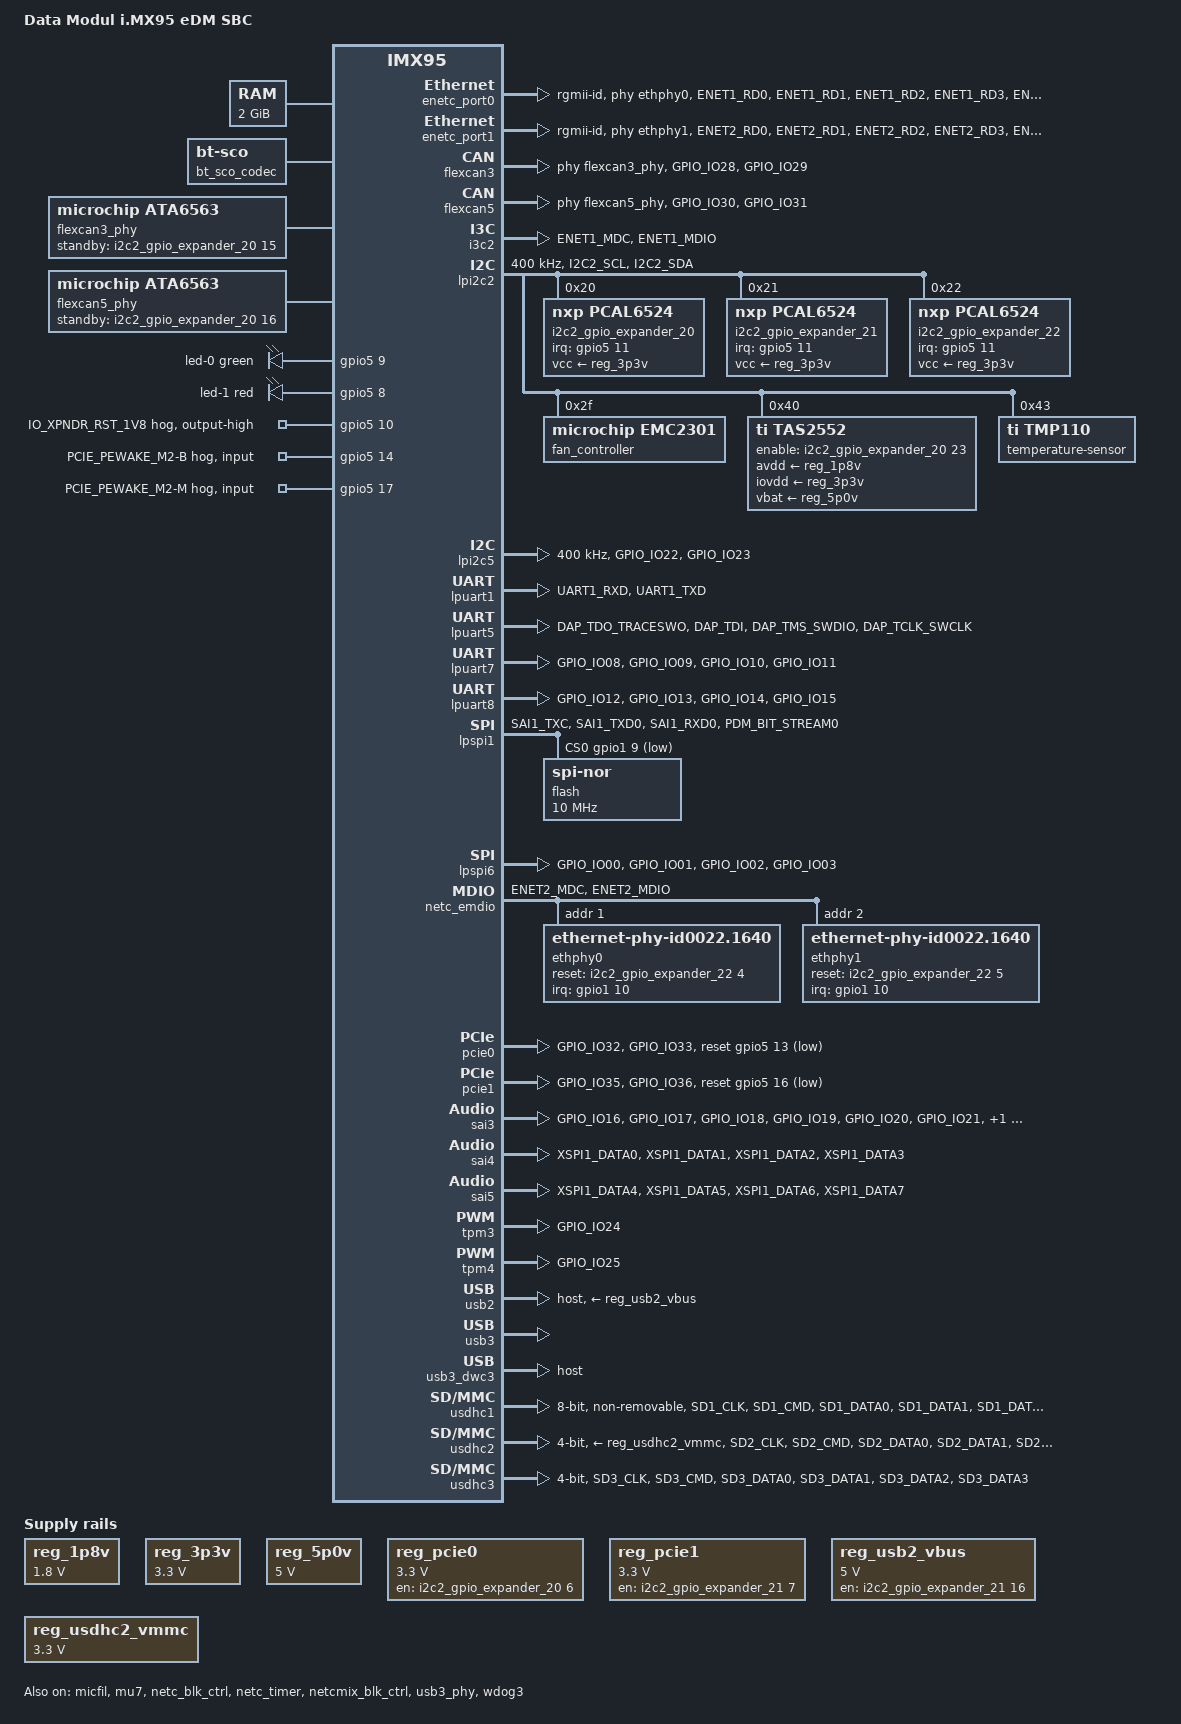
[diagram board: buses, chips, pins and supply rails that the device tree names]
// SPDX-License-Identifier: (GPL-2.0+ OR MIT)
/*
 * Copyright (C) 2025-2026 Marek Vasut <marex@nabladev.com>
 */

/dts-v1/;

#include <dt-bindings/i3c/i3c.h>
#include <dt-bindings/leds/common.h>
#include <dt-bindings/pwm/pwm.h>
#include <dt-bindings/usb/pd.h>
#include "imx95.dtsi"

/ {
	model = "Data Modul i.MX95 eDM SBC";
	compatible = "dmo,imx95-data-modul-edm-sbc", "fsl,imx95";

	aliases {
		ethernet0 = &enetc_port0;
		ethernet1 = &enetc_port1;
		gpio0 = &gpio1;
		gpio1 = &gpio2;
		gpio2 = &gpio3;
		gpio3 = &gpio4;
		gpio4 = &gpio5;
		i2c0 = &lpi2c1;
		i2c1 = &lpi2c2;
		i2c2 = &lpi2c5;
		mmc0 = &usdhc1;
		mmc1 = &usdhc2;
		mmc2 = &usdhc3;
		serial0 = &lpuart1;
		serial1 = &lpuart2;
		serial2 = &lpuart5;
		serial3 = &lpuart7;
		serial4 = &lpuart8;
	};

	chosen {
		stdout-path = &lpuart1;
	};

	memory@80000000 {
		device_type = "memory";
		reg = <0x0 0x80000000 0 0x80000000>;
	};

	backlight_dsi: backlight-dsi {
		compatible = "pwm-backlight";
		brightness-levels = <0 1 10 20 30 40 50 60 70 75 80 90 100>;
		default-brightness-level = <7>;
		enable-gpios = <&i2c2_gpio_expander_21 12 GPIO_ACTIVE_HIGH>;
		pwms = <&tpm4 3 5000000 0>;
		/* Disabled by default, unless display board plugged in. */
		status = "disabled";
	};

	backlight_lvds: backlight-lvds {
		compatible = "pwm-backlight";
		pinctrl-names = "default";
		pinctrl-0 = <&pinctrl_panel_backlight_lvds>;
		brightness-levels = <0 1 10 20 30 40 50 60 70 75 80 90 100>;
		default-brightness-level = <7>;
		enable-gpios = <&gpio2 27 GPIO_ACTIVE_HIGH>;
		pwms = <&tpm3 3 5000000 0>;
		/* Disabled by default, unless display board plugged in. */
		status = "disabled";
	};

	bt_sco_codec: bt-sco-codec {
		compatible = "linux,bt-sco";
		#sound-dai-cells = <1>;
	};

	flexcan3_phy: can-phy0 {
		compatible = "microchip,ata6563", "ti,tcan1042";
		#phy-cells = <0>;
		max-bitrate = <5000000>;
		standby-gpios = <&i2c2_gpio_expander_20 15 GPIO_ACTIVE_HIGH>;
	};

	flexcan5_phy: can-phy1 {
		compatible = "microchip,ata6563", "ti,tcan1042";
		#phy-cells = <0>;
		max-bitrate = <5000000>;
		standby-gpios = <&i2c2_gpio_expander_20 16 GPIO_ACTIVE_HIGH>;
	};

	led {
		compatible = "gpio-leds";
		pinctrl-0 = <&pinctrl_led>;
		pinctrl-names = "default";

		led-0 {
			color = <LED_COLOR_ID_GREEN>;
			default-state = "off";
			function = LED_FUNCTION_INDICATOR;
			function-enumerator = <0>;
			gpios = <&gpio5 9 GPIO_ACTIVE_HIGH>;
		};

		led-1 {
			color = <LED_COLOR_ID_RED>;
			default-state = "off";
			function = LED_FUNCTION_INDICATOR;
			function-enumerator = <0>;
			gpios = <&gpio5 8 GPIO_ACTIVE_HIGH>;
		};
	};

	reg_1p8v: regulator-1p8v {
		compatible = "regulator-fixed";
		regulator-max-microvolt = <1800000>;
		regulator-min-microvolt = <1800000>;
		regulator-name = "VDD_1V8";
	};

	/* PF09 SW1, but the PMIC is controlled by CM33 */
	reg_3p3v: regulator-3p3v {
		compatible = "regulator-fixed";
		regulator-max-microvolt = <3300000>;
		regulator-min-microvolt = <3300000>;
		regulator-name = "VDD_3V3";
	};

	reg_5p0v: regulator-5p0v {
		compatible = "regulator-fixed";
		regulator-max-microvolt = <5000000>;
		regulator-min-microvolt = <5000000>;
		regulator-name = "VDD_5V0";
	};

	reg_panel_vcc: regulator-panel-vcc {
		compatible = "regulator-fixed";
		regulator-min-microvolt = <3300000>;
		regulator-max-microvolt = <3300000>;
		regulator-name = "PANEL_VCC";
		gpios = <&i2c2_gpio_expander_20 17 0>;
		/* Disabled by default, unless display board plugged in. */
		status = "disabled";
	};

	reg_pcie0: regulator-pcie0 {
		compatible = "regulator-fixed";
		regulator-max-microvolt = <3300000>;
		regulator-min-microvolt = <3300000>;
		regulator-name = "PCIE_M2-B_EN";
		gpios = <&i2c2_gpio_expander_20 6 GPIO_ACTIVE_HIGH>;
		enable-active-high;
	};

	reg_pcie1: regulator-pcie1 {
		compatible = "regulator-fixed";
		regulator-name = "PCIE_M2-M_EN";
		regulator-min-microvolt = <3300000>;
		regulator-max-microvolt = <3300000>;
		gpios = <&i2c2_gpio_expander_21 7 GPIO_ACTIVE_HIGH>;
		enable-active-high;
	};

	reg_usb2_vbus: regulator-usb2-vbus {
		compatible = "regulator-fixed";
		regulator-name = "USB2_VBUS";
		regulator-min-microvolt = <5000000>;
		regulator-max-microvolt = <5000000>;
		gpios = <&i2c2_gpio_expander_21 16 GPIO_ACTIVE_HIGH>;
		enable-active-high;
	};

	reg_usdhc2_vmmc: regulator-usdhc2 {
		compatible = "regulator-fixed";
		regulator-min-microvolt = <3300000>;
		regulator-max-microvolt = <3300000>;
		regulator-name = "VDD_SD2_3V3";
	};

	sound-bt-sco {
		compatible = "simple-audio-card";
		simple-audio-card,bitclock-inversion;
		simple-audio-card,bitclock-master = <&btcpu>;
		simple-audio-card,format = "dsp_a";
		simple-audio-card,frame-master = <&btcpu>;
		simple-audio-card,name = "bt-sco-audio";

		simple-audio-card,codec {
			sound-dai = <&bt_sco_codec 1>;
		};

		btcpu: simple-audio-card,cpu {
			dai-tdm-slot-num = <2>;
			dai-tdm-slot-width = <16>;
			sound-dai = <&sai5>;
		};
	};

	sound-micfil {
		compatible = "fsl,imx-audio-card";
		model = "micfil-audio";

		pri-dai-link {
			link-name = "micfil hifi";
			format = "i2s";
			cpu {
				sound-dai = <&micfil>;
			};
		};
	};

	sound-tas2552 {
		compatible = "simple-audio-card";
		simple-audio-card,bitclock-master = <&cpudai>;
		simple-audio-card,format = "i2s";
		simple-audio-card,frame-master = <&cpudai>;
		simple-audio-card,mclk-fs = <256>;
		simple-audio-card,name = "tas2552-audio";
		simple-audio-card,routing = "Speaker", "OUT";
		simple-audio-card,widgets = "Speaker", "Speaker";

		simple-audio-card,codec {
			sound-dai = <&tas2552>;
		};

		cpudai: simple-audio-card,cpu {
			sound-dai = <&sai3>;
		};
	};
};

&enetc_port0 {
	pinctrl-names = "default";
	pinctrl-0 = <&pinctrl_enetc0>;
	phy-handle = <&ethphy0>;
	phy-mode = "rgmii-id";
	status = "okay";
};

&enetc_port1 {
	pinctrl-names = "default";
	pinctrl-0 = <&pinctrl_enetc1>;
	phy-handle = <&ethphy1>;
	phy-mode = "rgmii-id";
	status = "okay";
};

&flexcan3 {
	pinctrl-names = "default";
	pinctrl-0 = <&pinctrl_flexcan3>;
	phys = <&flexcan3_phy>;
	status = "okay";
};

&flexcan5 {
	pinctrl-names = "default";
	pinctrl-0 = <&pinctrl_flexcan5>;
	phys = <&flexcan5_phy>;
	status = "okay";
};

&gpio1 {
	gpio-line-names =
		"", "", "", "",
		"", "BOOT_MODE0", "", "BOOT_MODE1",
		"", "", "SYS_WAKEUP", "BOOT_MODE2",
		"", "BOOT_MODE3", "", "";
	status = "okay";
};

&gpio5 {
	pcal6524-reset-hog {
		gpio-hog;
		gpios = <10 0>;
		output-high;
		line-name = "IO_XPNDR_RST_1V8";
	};

	pewake0-hog {
		gpio-hog;
		gpios = <14 0>;
		input;
		line-name = "PCIE_PEWAKE_M2-B";
	};

	pewake1-hog {
		gpio-hog;
		gpios = <17 0>;
		input;
		line-name = "PCIE_PEWAKE_M2-M";
	};
};

&i3c2 {	/* Feature connector I2C/I3C */
	i2c-scl-hz = <400000>;
	pinctrl-0 = <&pinctrl_i3c2>;
	pinctrl-names = "default";
	status = "okay";
};

&lpi2c2 {
	clock-frequency = <400000>;
	pinctrl-names = "default";
	pinctrl-0 = <&pinctrl_lpi2c2>;
	status = "okay";

	i2c2_gpio_expander_20: gpio@20 {	/* U12 */
		compatible = "nxp,pcal6524";
		reg = <0x20>;
		#gpio-cells = <2>;
		gpio-controller;
		#interrupt-cells = <2>;
		interrupt-controller;
		interrupts-extended = <&gpio5 11 IRQ_TYPE_LEVEL_HIGH>;
		vcc-supply = <&reg_3p3v>;
		/*
		 * reset-gpios cannot be used because the reset
		 * line is shared by multiple PCAL6524 consumers.
		 */
		gpio-line-names =
			/* Port 0 */
			"UART8_RS232-485_MODE0", "UART8_RS232-485_MODE1",
			"UART8_RS232-485_Term_TX", "UART8_RS232-485_Term_RX",
			"UART8_RS232-485_EN", "VDD_3V3_M2-E_EN",
			"VDD_3V3_M2-B_EN", "M2_I2C_ALERT",
			/* Port 1 */
			"M2-B_FULL_CARD_PWROFF", "M2-B_W_DISABLE1",
			"M2-B_W_DISABLE2", "M2-B_RESET",
			"M2-E_W_DISABLE1", "M2-E_W_DISABLE2",
			"M2-E_SDIO_RESET", "CAN3_STBY",
			/* Port 2 */
			"CAN5_STBY", "V_LCD_EN",
			"V_LCD_SEL_3V3", "V_LCD_SEL_5V0",
			"V_LCD_SEL_12V0", "V_12V0_CC",
			"V_12V0_PG", "AUDIO_EN";
	};

	i2c2_gpio_expander_21: gpio@21 {	/* U14 */
		compatible = "nxp,pcal6524";
		reg = <0x21>;
		#gpio-cells = <2>;
		gpio-controller;
		#interrupt-cells = <2>;
		interrupt-controller;
		interrupts-extended = <&gpio5 11 IRQ_TYPE_LEVEL_HIGH>;
		vcc-supply = <&reg_3p3v>;
		/*
		 * reset-gpios cannot be used because the reset
		 * line is shared by multiple PCAL6524 consumers.
		 */
		gpio-line-names =
			/* Port 0 */
			"V_BKL_PWM_SEL_5V0", "V_BKL_EN_SEL_5V0",
			"UART7_RS232-485_MODE0", "UART7_RS232-485_MODE1",
			"UART7_RS232-485_Term_TX", "UART7_RS232-485_Term_RX",
			"UART7_RS232-485_EN", "VDD_3V3_M2-M_EN",
			/* Port 1 */
			"TOUCH_INT", "TOUCH_RESET",
			"CAMERA_PWREN", "CAMERA_LED",
			"MIPI_DSI-CSI_BL_EN", "MIPI_DSI-CSI_RESET",
			"MIPI_DSI-CSI_INT", "LVDS_PANEL_GPIO",
			/* Port 2 */
			"USB2_PWR_EN", "USB2_PWR_OC#",
			"VDD_1V2_USB_PG", "PF09_PG",
			"USB_HUB_RESET", "PF09_FS0B",
			"PF53_VDD_ARM_PG", "PF53_VDD_SOC_PG";

		usb-hub-hog {
			gpio-hog;
			gpios = <20 0>;
			output-high;
			line-name = "USB_HUB_RESET";
		};
	};

	i2c2_gpio_expander_22: gpio@22 {	/* U13 */
		compatible = "nxp,pcal6524";
		reg = <0x22>;
		#gpio-cells = <2>;
		gpio-controller;
		#interrupt-cells = <2>;
		interrupt-controller;
		interrupts-extended = <&gpio5 11 IRQ_TYPE_LEVEL_HIGH>;
		vcc-supply = <&reg_3p3v>;
		/*
		 * reset-gpios cannot be used because the reset
		 * line is shared by multiple PCAL6524 consumers.
		 */
		gpio-line-names =
			/* Port 0 */
			"eMMC_RESET", "WDOG_IRQ#",
			"FAN_ALERT", "VDD_1V2_ETH_PG",
			"ENET1_RESET", "ENET2_RESET",
			"TPM_IRQ", "TPM_RESET",
			/* Port 1 */
			"FEATURE_CONN_GPIO1", "FEATURE_CONN_GPIO2",
			"FEATURE_CONN_GPIO3", "FEATURE_CONN_GPIO4",
			"FEATURE_CONN_GPIO5", "FEATURE_CONN_GPIO6",
			"", "",
			/* Port 2 */
			"", "", "", "", "", "",
			"UART5_SEL", "EEPROM_WRITE_ENABLE";
	};

	fan_controller: fan-controller@2f {
		compatible = "microchip,emc2301", "microchip,emc2305";
		reg = <0x2f>;
		#address-cells = <1>;
		#size-cells = <0>;
		#pwm-cells = <3>;

		fan@0 {
			reg = <0x0>;
			pwms = <&fan_controller 26000 0 1>;
			#cooling-cells = <2>;
		};
	};

	tas2552: audio-codec@40 {
		compatible = "ti,tas2552";
		reg = <0x40>;
		#sound-dai-cells = <0>;
		avdd-supply = <&reg_1p8v>;
		iovdd-supply = <&reg_3p3v>;
		vbat-supply = <&reg_5p0v>;
		enable-gpio = <&i2c2_gpio_expander_20 23 GPIO_ACTIVE_HIGH>;
	};

	temperature-sensor@43 {
		compatible = "ti,tmp110", "ti,tmp102";
		reg = <0x43>;
	};
};

&lpi2c5 {
	clock-frequency = <400000>;
	pinctrl-names = "default";
	pinctrl-0 = <&pinctrl_lpi2c5>;
	status = "okay";
};

&lpuart1 {	/* A55 Debug */
	pinctrl-names = "default";
	pinctrl-0 = <&pinctrl_uart1>;
	status = "okay";
};

&lpuart2 {	/* M33 Debug */
	pinctrl-names = "default";
	pinctrl-0 = <&pinctrl_uart2>;
	status = "reserved";
};

&lpuart5 {
	pinctrl-names = "default";
	pinctrl-0 = <&pinctrl_uart5>;
	uart-has-rtscts;
	status = "okay";
};

&lpuart7 {
	pinctrl-names = "default";
	pinctrl-0 = <&pinctrl_uart7>;
	uart-has-rtscts;
	status = "okay";
};

&lpuart8 {	/* M7 Debug */
	pinctrl-names = "default";
	pinctrl-0 = <&pinctrl_uart8>;
	uart-has-rtscts;
	status = "okay";
};

&lpspi1 {
	pinctrl-names = "default";
	pinctrl-0 = <&pinctrl_lpspi1>;
	cs-gpios = <&gpio1 9 GPIO_ACTIVE_LOW>;
	status = "okay";

	flash@0 {	/* W25Q128FVSI */
		compatible = "jedec,spi-nor";
		reg = <0>;
		spi-max-frequency = <10000000>;
	};
};

&lpspi6 {
	pinctrl-names = "default";
	pinctrl-0 = <&pinctrl_lpspi6>;
	cs-gpios = <&gpio2 0 GPIO_ACTIVE_LOW>;
	status = "okay";
};

&micfil {
	#sound-dai-cells = <0>;
	pinctrl-names = "default";
	pinctrl-0 = <&pinctrl_pdm>;
	assigned-clocks = <&scmi_clk IMX95_CLK_AUDIOPLL1_VCO>,
			  <&scmi_clk IMX95_CLK_AUDIOPLL2_VCO>,
			  <&scmi_clk IMX95_CLK_AUDIOPLL1>,
			  <&scmi_clk IMX95_CLK_AUDIOPLL2>,
			  <&scmi_clk IMX95_CLK_PDM>;
	assigned-clock-parents = <0>, <0>, <0>, <0>,
				 <&scmi_clk IMX95_CLK_AUDIOPLL1>;
	assigned-clock-rates = <3932160000>,
			       <3612672000>, <393216000>,
			       <361267200>, <49152000>;
	status = "okay";
};

&mu7 {
	status = "okay";
};

&netc_blk_ctrl {
	status = "okay";
};

&netc_emdio {
	pinctrl-names = "default";
	pinctrl-0 = <&pinctrl_emdio>;
	status = "okay";

	ethphy0: ethernet-phy@1 {	/* KSZ9131RNXI U20 */
		compatible = "ethernet-phy-id0022.1640";
		reg = <1>;
		interrupts-extended = <&gpio1 10 IRQ_TYPE_LEVEL_LOW>;
		reset-assert-us = <1000>;
		/* RESET_N signal rise time ~100ms */
		reset-deassert-us = <120000>;
		reset-gpios = <&i2c2_gpio_expander_22 4 GPIO_ACTIVE_HIGH>;
	};

	ethphy1: ethernet-phy@2 {	/* KSZ9131RNXI U22 */
		compatible = "ethernet-phy-id0022.1640";
		reg = <2>;
		interrupts-extended = <&gpio1 10 IRQ_TYPE_LEVEL_LOW>;
		reset-assert-us = <1000>;
		/* RESET_N signal rise time ~100ms */
		reset-deassert-us = <120000>;
		reset-gpios = <&i2c2_gpio_expander_22 5 GPIO_ACTIVE_HIGH>;
	};
};

&netc_timer {
	status = "okay";
};

&netcmix_blk_ctrl {
	status = "okay";
};

&pcie0 {	/* M.2 Key-B */
	pinctrl-0 = <&pinctrl_pcie0>;
	pinctrl-names = "default";
	reset-gpios = <&gpio5 13 GPIO_ACTIVE_LOW>;
	vpcie-supply = <&reg_pcie0>;
	status = "okay";
};

&pcie1 {	/* M.2 Key-M */
	pinctrl-0 = <&pinctrl_pcie1>;
	pinctrl-names = "default";
	reset-gpios = <&gpio5 16 GPIO_ACTIVE_LOW>;
	vpcie-supply = <&reg_pcie1>;
	status = "okay";
};

&sai3 {
	#sound-dai-cells = <0>;
	pinctrl-names = "default";
	pinctrl-0 = <&pinctrl_sai3>;
	assigned-clocks = <&scmi_clk IMX95_CLK_AUDIOPLL1_VCO>,
			  <&scmi_clk IMX95_CLK_AUDIOPLL2_VCO>,
			  <&scmi_clk IMX95_CLK_AUDIOPLL1>,
			  <&scmi_clk IMX95_CLK_AUDIOPLL2>,
			  <&scmi_clk IMX95_CLK_SAI3>;
	assigned-clock-parents = <0>, <0>, <0>, <0>,
				 <&scmi_clk IMX95_CLK_AUDIOPLL1>;
	assigned-clock-rates = <3932160000>,
			       <3612672000>, <393216000>,
			       <361267200>, <12288000>;
	fsl,sai-mclk-direction-output;
	status = "okay";
};

&sai4 {
	assigned-clocks = <&scmi_clk IMX95_CLK_AUDIOPLL1_VCO>,
			  <&scmi_clk IMX95_CLK_AUDIOPLL2_VCO>,
			  <&scmi_clk IMX95_CLK_AUDIOPLL1>,
			  <&scmi_clk IMX95_CLK_AUDIOPLL2>,
			  <&scmi_clk IMX95_CLK_SAI4>;
	assigned-clock-parents = <0>, <0>, <0>, <0>, <&scmi_clk IMX95_CLK_AUDIOPLL1>;
	assigned-clock-rates = <3932160000>, <3612672000>, <393216000>, <361267200>, <12288000>;
	#sound-dai-cells = <0>;
	pinctrl-0 = <&pinctrl_sai4>;
	pinctrl-names = "default";
	fsl,sai-mclk-direction-output;
	status = "okay";
};

&sai5 {
	assigned-clocks = <&scmi_clk IMX95_CLK_AUDIOPLL1_VCO>,
			  <&scmi_clk IMX95_CLK_AUDIOPLL2_VCO>,
			  <&scmi_clk IMX95_CLK_AUDIOPLL1>,
			  <&scmi_clk IMX95_CLK_AUDIOPLL2>,
			  <&scmi_clk IMX95_CLK_SAI5>;
	assigned-clock-parents = <0>, <0>, <0>, <0>, <&scmi_clk IMX95_CLK_AUDIOPLL1>;
	assigned-clock-rates = <3932160000>, <3612672000>, <393216000>, <361267200>, <12288000>;
	#sound-dai-cells = <0>;
	pinctrl-0 = <&pinctrl_sai5>;
	pinctrl-names = "default";
	fsl,sai-mclk-direction-output;
	status = "okay";
};

&thermal_zones {
	pf09-thermal {
		polling-delay = <2000>;
		polling-delay-passive = <250>;
		thermal-sensors = <&scmi_sensor 2>;

		trips {
			trip0 {
				hysteresis = <2000>;
				temperature = <140000>;
				type = "passive";
			};

			trip1 {
				hysteresis = <2000>;
				temperature = <155000>;
				type = "critical";
			};
		};
	};

	pf53arm-thermal {
		polling-delay = <2000>;
		polling-delay-passive = <250>;
		thermal-sensors = <&scmi_sensor 4>;

		cooling-maps {
			map0 {
				trip = <&pf5301_alert>;
				cooling-device =
					<&A55_0 THERMAL_NO_LIMIT THERMAL_NO_LIMIT>,
					<&A55_1 THERMAL_NO_LIMIT THERMAL_NO_LIMIT>,
					<&A55_2 THERMAL_NO_LIMIT THERMAL_NO_LIMIT>,
					<&A55_3 THERMAL_NO_LIMIT THERMAL_NO_LIMIT>,
					<&A55_4 THERMAL_NO_LIMIT THERMAL_NO_LIMIT>,
					<&A55_5 THERMAL_NO_LIMIT THERMAL_NO_LIMIT>;
			};
		};

		trips {
			pf5301_alert: trip0 {
				hysteresis = <2000>;
				temperature = <140000>;
				type = "passive";
			};

			pf5301_crit: trip1 {
				hysteresis = <2000>;
				temperature = <155000>;
				type = "critical";
			};
		};
	};

	pf53soc-thermal {
		polling-delay = <2000>;
		polling-delay-passive = <250>;
		thermal-sensors = <&scmi_sensor 3>;

		trips {
			pf5302_alert: trip0 {
				hysteresis = <2000>;
				temperature = <140000>;
				type = "passive";
			};

			pf5302_crit: trip1 {
				hysteresis = <2000>;
				temperature = <155000>;
				type = "critical";
			};
		};
	};
};

&tpm3 {
	pinctrl-names = "default";
	pinctrl-0 = <&pinctrl_tpm3>;
	status = "okay";
};

&tpm4 {
	pinctrl-names = "default";
	pinctrl-0 = <&pinctrl_tpm4>;
	status = "okay";
};

&usb2 {
	dr_mode = "host";
	vbus-supply = <&reg_usb2_vbus>;
	status = "okay";
};

&usb3 {
	status = "okay";
};

&usb3_dwc3 {
	dr_mode = "host";
	status = "okay";
};

&usb3_phy {
	status = "okay";
};

&usdhc1 {	/* eMMC */
	pinctrl-names = "default", "state_100mhz", "state_200mhz", "sleep";
	pinctrl-0 = <&pinctrl_usdhc1>;
	pinctrl-1 = <&pinctrl_usdhc1_100mhz>;
	pinctrl-2 = <&pinctrl_usdhc1_200mhz>;
	pinctrl-3 = <&pinctrl_usdhc1>;
	bus-width = <8>;
	non-removable;
	no-sdio;
	no-sd;
	status = "okay";
};

&usdhc2 {	/* SD-Card */
	pinctrl-names = "default", "state_100mhz", "state_200mhz", "sleep";
	pinctrl-0 = <&pinctrl_usdhc2>;
	pinctrl-1 = <&pinctrl_usdhc2_100mhz>;
	pinctrl-2 = <&pinctrl_usdhc2_200mhz>;
	pinctrl-3 = <&pinctrl_usdhc2>;
	cd-gpios = <&gpio3 0 GPIO_ACTIVE_LOW>;
	vmmc-supply = <&reg_usdhc2_vmmc>;
	bus-width = <4>;
	status = "okay";
};

&usdhc3 {	/* M.2 Key-E */
	pinctrl-names = "default", "state_100mhz", "state_200mhz", "sleep";
	pinctrl-0 = <&pinctrl_usdhc3>;
	pinctrl-1 = <&pinctrl_usdhc3_100mhz>;
	pinctrl-2 = <&pinctrl_usdhc3_200mhz>;
	pinctrl-3 = <&pinctrl_usdhc3>;
	bus-width = <4>;
	status = "okay";
};

&wdog3 {
	fsl,ext-reset-output;
	status = "okay";
};

&scmi_iomuxc {
	pinctrl-names = "default";
	pinctrl-0 = <&pinctrl_hog>;

	pinctrl_hog: hoggrp {
		fsl,pins = <
			/* PCIe 0 PEWAKE */
			IMX95_PAD_GPIO_IO34__GPIO5_IO_BIT14			0x4000031e
			/* PCIe 1 PEWAKE */
			IMX95_PAD_GPIO_IO37__GPIO5_IO_BIT17			0x4000031e
			/* BOOT_MODE2 */
			IMX95_PAD_SAI1_TXFS__AONMIX_TOP_GPIO1_IO_BIT11		0x4000031e
			/* IO_XPNDR_RST_1V8 shared by multiple expanders */
			IMX95_PAD_XSPI1_SS0_B__GPIO5_IO_BIT10			0x40000b9e
			/* IO_XPNDR_INT_1V8 shared by multiple expanders */
			IMX95_PAD_XSPI1_SS1_B__GPIO5_IO_BIT11			0x40000b9e
		>;
	};

	pinctrl_emdio: emdiogrp {
		fsl,pins = <
			IMX95_PAD_ENET2_MDC__NETCMIX_TOP_NETC_MDC		0x50e
			IMX95_PAD_ENET2_MDIO__NETCMIX_TOP_NETC_MDIO		0x90e
		>;
	};

	pinctrl_enetc0: enetc0grp {
		fsl,pins = <
			IMX95_PAD_ENET1_RD0__NETCMIX_TOP_ETH0_RGMII_RD0		0x57e
			IMX95_PAD_ENET1_RD1__NETCMIX_TOP_ETH0_RGMII_RD1		0x57e
			IMX95_PAD_ENET1_RD2__NETCMIX_TOP_ETH0_RGMII_RD2		0x57e
			IMX95_PAD_ENET1_RD3__NETCMIX_TOP_ETH0_RGMII_RD3		0x57e
			IMX95_PAD_ENET1_RXC__NETCMIX_TOP_ETH0_RGMII_RX_CLK	0x58e
			IMX95_PAD_ENET1_RX_CTL__NETCMIX_TOP_ETH0_RGMII_RX_CTL	0x57e
			IMX95_PAD_ENET1_TD0__NETCMIX_TOP_ETH0_RGMII_TD0		0x50e
			IMX95_PAD_ENET1_TD1__NETCMIX_TOP_ETH0_RGMII_TD1		0x50e
			IMX95_PAD_ENET1_TD2__NETCMIX_TOP_ETH0_RGMII_TD2		0x50e
			IMX95_PAD_ENET1_TD3__NETCMIX_TOP_ETH0_RGMII_TD3		0x50e
			IMX95_PAD_ENET1_TXC__NETCMIX_TOP_ETH0_RGMII_TX_CLK	0x58e
			IMX95_PAD_ENET1_TX_CTL__NETCMIX_TOP_ETH0_RGMII_TX_CTL	0x57e
		>;
	};

	pinctrl_enetc1: enetc1grp {
		fsl,pins = <
			IMX95_PAD_ENET2_RD0__NETCMIX_TOP_ETH1_RGMII_RD0		0x57e
			IMX95_PAD_ENET2_RD1__NETCMIX_TOP_ETH1_RGMII_RD1		0x57e
			IMX95_PAD_ENET2_RD2__NETCMIX_TOP_ETH1_RGMII_RD2		0x57e
			IMX95_PAD_ENET2_RD3__NETCMIX_TOP_ETH1_RGMII_RD3		0x57e
			IMX95_PAD_ENET2_RXC__NETCMIX_TOP_ETH1_RGMII_RX_CLK	0x58e
			IMX95_PAD_ENET2_RX_CTL__NETCMIX_TOP_ETH1_RGMII_RX_CTL	0x57e
			IMX95_PAD_ENET2_TD0__NETCMIX_TOP_ETH1_RGMII_TD0		0x50e
			IMX95_PAD_ENET2_TD1__NETCMIX_TOP_ETH1_RGMII_TD1		0x50e
			IMX95_PAD_ENET2_TD2__NETCMIX_TOP_ETH1_RGMII_TD2		0x50e
			IMX95_PAD_ENET2_TD3__NETCMIX_TOP_ETH1_RGMII_TD3		0x50e
			IMX95_PAD_ENET2_TXC__NETCMIX_TOP_ETH1_RGMII_TX_CLK	0x58e
			IMX95_PAD_ENET2_TX_CTL__NETCMIX_TOP_ETH1_RGMII_TX_CTL	0x57e
		>;
	};

	pinctrl_flexcan3: flexcan3grp {
		fsl,pins = <
			IMX95_PAD_GPIO_IO28__CAN3_TX				0x39e
			IMX95_PAD_GPIO_IO29__CAN3_RX				0x39e
		>;
	};

	pinctrl_flexcan5: flexcan5grp {
		fsl,pins = <
			IMX95_PAD_GPIO_IO30__CAN5_TX				0x39e
			IMX95_PAD_GPIO_IO31__CAN5_RX				0x39e
		>;
	};

	pinctrl_i3c2: i3c2grp {
		fsl,pins = <
			IMX95_PAD_ENET1_MDC__I3C2_SCL				0x40000186
			IMX95_PAD_ENET1_MDIO__I3C2_SDA				0x40000186
		>;
	};

	pinctrl_led: ledgrp {
		fsl,pins = <
			IMX95_PAD_XSPI1_DQS__GPIO5_IO_BIT8			0x14e
			IMX95_PAD_XSPI1_SCLK__GPIO5_IO_BIT9			0x14e
		>;
	};

	pinctrl_lpi2c2: lpi2c2grp {
		fsl,pins = <
			IMX95_PAD_I2C2_SCL__AONMIX_TOP_LPI2C2_SCL		0x40000b9e
			IMX95_PAD_I2C2_SDA__AONMIX_TOP_LPI2C2_SDA		0x40000b9e
		>;
	};

	pinctrl_lpi2c5: lpi2c5grp {
		fsl,pins = <
			IMX95_PAD_GPIO_IO22__LPI2C5_SDA				0x40000b9e
			IMX95_PAD_GPIO_IO23__LPI2C5_SCL				0x40000b9e
		>;
	};

	pinctrl_lpspi1: lpspi1grp {
		fsl,pins = <
			IMX95_PAD_SAI1_TXC__AONMIX_TOP_LPSPI1_SIN		0x3fe
			IMX95_PAD_SAI1_TXD0__AONMIX_TOP_LPSPI1_SCK		0x3fe
			IMX95_PAD_SAI1_RXD0__AONMIX_TOP_LPSPI1_SOUT		0x3fe
			IMX95_PAD_PDM_BIT_STREAM0__AONMIX_TOP_GPIO1_IO_BIT9	0x3fe
		>;
	};

	pinctrl_lpspi6: lpspi6grp {
		fsl,pins = <
			IMX95_PAD_GPIO_IO00__GPIO2_IO_BIT0			0x3fe
			IMX95_PAD_GPIO_IO01__LPSPI6_SIN				0x3fe
			IMX95_PAD_GPIO_IO02__LPSPI6_SOUT			0x3fe
			IMX95_PAD_GPIO_IO03__LPSPI6_SCK				0x3fe
		>;
	};

	pinctrl_pcie0: pcie0grp {
		fsl,pins = <
			IMX95_PAD_GPIO_IO32__HSIOMIX_TOP_PCIE1_CLKREQ_B		0x4000031e
			IMX95_PAD_GPIO_IO33__GPIO5_IO_BIT13			0x31e
		>;
	};

	pinctrl_pcie1: pcie1grp {
		fsl,pins = <
			IMX95_PAD_GPIO_IO35__HSIOMIX_TOP_PCIE2_CLKREQ_B		0x4000031e
			IMX95_PAD_GPIO_IO36__GPIO5_IO_BIT16			0x31e
		>;
	};

	pinctrl_panel_backlight_lvds: backlightlvdsgrp {
		fsl,pins = <
			IMX95_PAD_GPIO_IO27__GPIO2_IO_BIT27			0x31e
		>;
	};

	pinctrl_pdm: pdmgrp {
		fsl,pins = <
			IMX95_PAD_GPIO_IO04__AONMIX_TOP_PDM_CLK			0x31e
			IMX95_PAD_GPIO_IO05__AONMIX_TOP_PDM_BIT_STREAM_BIT0	0x31e
			IMX95_PAD_GPIO_IO06__AONMIX_TOP_PDM_BIT_STREAM_BIT1	0x31e
		>;
	};

	pinctrl_sai4: sai4grp {
		fsl,pins = <
			IMX95_PAD_XSPI1_DATA0__SAI4_TX_BCLK			0x31e
			IMX95_PAD_XSPI1_DATA1__SAI4_TX_SYNC			0x31e
			IMX95_PAD_XSPI1_DATA2__SAI4_TX_DATA_BIT0		0x31e
			IMX95_PAD_XSPI1_DATA3__SAI4_RX_DATA_BIT0		0x31e
		>;
	};

	pinctrl_sai5: sai5grp {
		fsl,pins = <
			IMX95_PAD_XSPI1_DATA4__SAI5_TX_DATA_BIT0		0x31e
			IMX95_PAD_XSPI1_DATA5__SAI5_TX_SYNC			0x31e
			IMX95_PAD_XSPI1_DATA6__SAI5_TX_BCLK			0x31e
			IMX95_PAD_XSPI1_DATA7__SAI5_RX_DATA_BIT0		0x31e
		>;
	};

	pinctrl_sai3: sai3grp {
		fsl,pins = <
			IMX95_PAD_GPIO_IO16__SAI3_TX_BCLK			0x31e
			IMX95_PAD_GPIO_IO17__SAI3_MCLK				0x31e
			IMX95_PAD_GPIO_IO18__SAI3_RX_BCLK			0x31e
			IMX95_PAD_GPIO_IO19__SAI3_RX_SYNC			0x31e
			IMX95_PAD_GPIO_IO20__SAI3_RX_DATA_BIT0			0x31e
			IMX95_PAD_GPIO_IO21__SAI3_TX_DATA_BIT0			0x31e
			IMX95_PAD_GPIO_IO26__SAI3_TX_SYNC			0x31e
		>;
	};

	pinctrl_tpm3: tpm3grp {
		fsl,pins = <
			IMX95_PAD_GPIO_IO24__TPM3_CH3				0x51e
		>;
	};

	pinctrl_tpm4: tpm4grp {
		fsl,pins = <
			IMX95_PAD_GPIO_IO25__TPM4_CH3				0x51e
		>;
	};

	pinctrl_uart1: uart1grp {
		fsl,pins = <
			IMX95_PAD_UART1_RXD__AONMIX_TOP_LPUART1_RX		0x31e
			IMX95_PAD_UART1_TXD__AONMIX_TOP_LPUART1_TX		0x31e
		>;
	};

	pinctrl_uart2: uart2grp {
		fsl,pins = <
			IMX95_PAD_UART2_RXD__AONMIX_TOP_LPUART2_RX		0x31e
			IMX95_PAD_UART2_TXD__AONMIX_TOP_LPUART2_TX		0x31e
		>;
	};

	pinctrl_uart5: uart5grp {
		fsl,pins = <
			IMX95_PAD_DAP_TDO_TRACESWO__LPUART5_TX			0x31e
			IMX95_PAD_DAP_TDI__LPUART5_RX				0x31e
			IMX95_PAD_DAP_TMS_SWDIO__LPUART5_RTS_B			0x31e
			IMX95_PAD_DAP_TCLK_SWCLK__LPUART5_CTS_B			0x31e
		>;
	};

	pinctrl_uart7: uart7grp {
		fsl,pins = <
			IMX95_PAD_GPIO_IO08__LPUART7_TX				0x31e
			IMX95_PAD_GPIO_IO09__LPUART7_RX				0x31e
			IMX95_PAD_GPIO_IO10__LPUART7_CTS_B			0x31e
			IMX95_PAD_GPIO_IO11__LPUART7_RTS_B			0x31e
		>;
	};

	pinctrl_uart8: uart8grp {
		fsl,pins = <
			IMX95_PAD_GPIO_IO12__LPUART8_TX				0x31e
			IMX95_PAD_GPIO_IO13__LPUART8_RX				0x31e
			IMX95_PAD_GPIO_IO14__LPUART8_CTS_B			0x31e
			IMX95_PAD_GPIO_IO15__LPUART8_RTS_B			0x31e
		>;
	};

	pinctrl_usdhc1: usdhc1grp {
		fsl,pins = <
			IMX95_PAD_SD1_CLK__USDHC1_CLK				0x158e
			IMX95_PAD_SD1_CMD__USDHC1_CMD				0x138e
			IMX95_PAD_SD1_DATA0__USDHC1_DATA0			0x138e
			IMX95_PAD_SD1_DATA1__USDHC1_DATA1			0x138e
			IMX95_PAD_SD1_DATA2__USDHC1_DATA2			0x138e
			IMX95_PAD_SD1_DATA3__USDHC1_DATA3			0x138e
			IMX95_PAD_SD1_DATA4__USDHC1_DATA4			0x138e
			IMX95_PAD_SD1_DATA5__USDHC1_DATA5			0x138e
			IMX95_PAD_SD1_DATA6__USDHC1_DATA6			0x138e
			IMX95_PAD_SD1_DATA7__USDHC1_DATA7			0x138e
			IMX95_PAD_SD1_STROBE__USDHC1_STROBE			0x158e
		>;
	};

	pinctrl_usdhc1_100mhz: usdhc1-100mhzgrp {
		fsl,pins = <
			IMX95_PAD_SD1_CLK__USDHC1_CLK				0x158e
			IMX95_PAD_SD1_CMD__USDHC1_CMD				0x138e
			IMX95_PAD_SD1_DATA0__USDHC1_DATA0			0x138e
			IMX95_PAD_SD1_DATA1__USDHC1_DATA1			0x138e
			IMX95_PAD_SD1_DATA2__USDHC1_DATA2			0x138e
			IMX95_PAD_SD1_DATA3__USDHC1_DATA3			0x138e
			IMX95_PAD_SD1_DATA4__USDHC1_DATA4			0x138e
			IMX95_PAD_SD1_DATA5__USDHC1_DATA5			0x138e
			IMX95_PAD_SD1_DATA6__USDHC1_DATA6			0x138e
			IMX95_PAD_SD1_DATA7__USDHC1_DATA7			0x138e
			IMX95_PAD_SD1_STROBE__USDHC1_STROBE			0x158e
		>;
	};

	pinctrl_usdhc1_200mhz: usdhc1-200mhzgrp {
		fsl,pins = <
			IMX95_PAD_SD1_CLK__USDHC1_CLK				0x15fe
			IMX95_PAD_SD1_CMD__USDHC1_CMD				0x13fe
			IMX95_PAD_SD1_DATA0__USDHC1_DATA0			0x13fe
			IMX95_PAD_SD1_DATA1__USDHC1_DATA1			0x13fe
			IMX95_PAD_SD1_DATA2__USDHC1_DATA2			0x13fe
			IMX95_PAD_SD1_DATA3__USDHC1_DATA3			0x13fe
			IMX95_PAD_SD1_DATA4__USDHC1_DATA4			0x13fe
			IMX95_PAD_SD1_DATA5__USDHC1_DATA5			0x13fe
			IMX95_PAD_SD1_DATA6__USDHC1_DATA6			0x13fe
			IMX95_PAD_SD1_DATA7__USDHC1_DATA7			0x13fe
			IMX95_PAD_SD1_STROBE__USDHC1_STROBE			0x15fe
		>;
	};

	pinctrl_usdhc2: usdhc2grp {
		fsl,pins = <
			IMX95_PAD_SD2_CLK__USDHC2_CLK				0x158e
			IMX95_PAD_SD2_CMD__USDHC2_CMD				0x138e
			IMX95_PAD_SD2_DATA0__USDHC2_DATA0			0x138e
			IMX95_PAD_SD2_DATA1__USDHC2_DATA1			0x138e
			IMX95_PAD_SD2_DATA2__USDHC2_DATA2			0x138e
			IMX95_PAD_SD2_DATA3__USDHC2_DATA3			0x138e
			IMX95_PAD_SD2_VSELECT__USDHC2_VSELECT			0x51e
			IMX95_PAD_SD2_CD_B__GPIO3_IO_BIT0			0x31e
		>;
	};

	pinctrl_usdhc2_100mhz: usdhc2-100mhzgrp {
		fsl,pins = <
			IMX95_PAD_SD2_CLK__USDHC2_CLK				0x158e
			IMX95_PAD_SD2_CMD__USDHC2_CMD				0x138e
			IMX95_PAD_SD2_DATA0__USDHC2_DATA0			0x138e
			IMX95_PAD_SD2_DATA1__USDHC2_DATA1			0x138e
			IMX95_PAD_SD2_DATA2__USDHC2_DATA2			0x138e
			IMX95_PAD_SD2_DATA3__USDHC2_DATA3			0x138e
			IMX95_PAD_SD2_VSELECT__USDHC2_VSELECT			0x51e
			IMX95_PAD_SD2_CD_B__GPIO3_IO_BIT0			0x31e
		>;
	};

	pinctrl_usdhc2_200mhz: usdhc2-200mhzgrp {
		fsl,pins = <
			IMX95_PAD_SD2_CLK__USDHC2_CLK				0x158e
			IMX95_PAD_SD2_CMD__USDHC2_CMD				0x138e
			IMX95_PAD_SD2_DATA0__USDHC2_DATA0			0x138e
			IMX95_PAD_SD2_DATA1__USDHC2_DATA1			0x138e
			IMX95_PAD_SD2_DATA2__USDHC2_DATA2			0x138e
			IMX95_PAD_SD2_DATA3__USDHC2_DATA3			0x138e
			IMX95_PAD_SD2_VSELECT__USDHC2_VSELECT			0x51e
			IMX95_PAD_SD2_CD_B__GPIO3_IO_BIT0			0x31e
		>;
	};

	pinctrl_usdhc3: usdhc3grp {
		fsl,pins = <
			IMX95_PAD_SD3_CLK__USDHC3_CLK				0x158e
			IMX95_PAD_SD3_CMD__USDHC3_CMD				0x138e
			IMX95_PAD_SD3_DATA0__USDHC3_DATA0			0x138e
			IMX95_PAD_SD3_DATA1__USDHC3_DATA1			0x138e
			IMX95_PAD_SD3_DATA2__USDHC3_DATA2			0x138e
			IMX95_PAD_SD3_DATA3__USDHC3_DATA3			0x138e
		>;
	};

	pinctrl_usdhc3_100mhz: usdhc3-100mhzgrp {
		fsl,pins = <
			IMX95_PAD_SD3_CLK__USDHC3_CLK				0x158e
			IMX95_PAD_SD3_CMD__USDHC3_CMD				0x138e
			IMX95_PAD_SD3_DATA0__USDHC3_DATA0			0x138e
			IMX95_PAD_SD3_DATA1__USDHC3_DATA1			0x138e
			IMX95_PAD_SD3_DATA2__USDHC3_DATA2			0x138e
			IMX95_PAD_SD3_DATA3__USDHC3_DATA3			0x138e
		>;
	};

	pinctrl_usdhc3_200mhz: usdhc3-200mhzgrp {
		fsl,pins = <
			IMX95_PAD_SD3_CLK__USDHC3_CLK				0x158e
			IMX95_PAD_SD3_CMD__USDHC3_CMD				0x138e
			IMX95_PAD_SD3_DATA0__USDHC3_DATA0			0x138e
			IMX95_PAD_SD3_DATA1__USDHC3_DATA1			0x138e
			IMX95_PAD_SD3_DATA2__USDHC3_DATA2			0x138e
			IMX95_PAD_SD3_DATA3__USDHC3_DATA3			0x138e
		>;
	};
};
